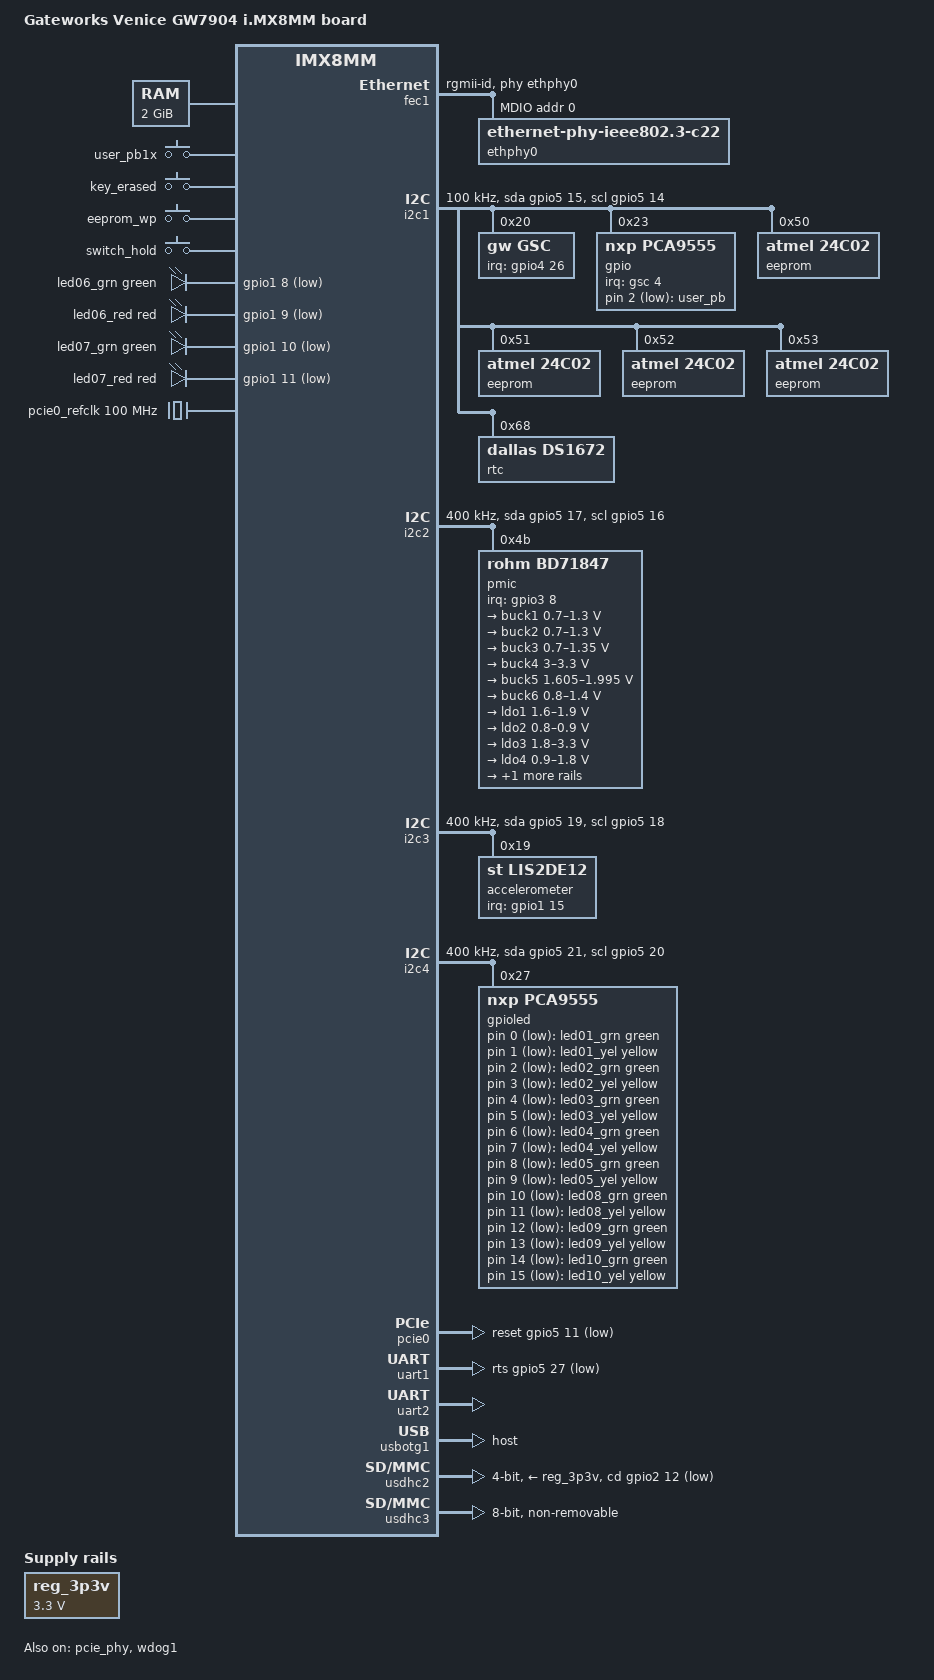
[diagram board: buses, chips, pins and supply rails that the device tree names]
// SPDX-License-Identifier: (GPL-2.0+ OR MIT)
/*
 * Copyright 2022 Gateworks Corporation
 */

/dts-v1/;

#include <dt-bindings/gpio/gpio.h>
#include <dt-bindings/input/linux-event-codes.h>
#include <dt-bindings/leds/common.h>
#include <dt-bindings/phy/phy-imx8-pcie.h>

#include "imx8mm.dtsi"

/ {
	model = "Gateworks Venice GW7904 i.MX8MM board";
	compatible = "gateworks,imx8mm-gw7904", "fsl,imx8mm";

	chosen {
		stdout-path = &uart2;
	};

	memory@40000000 {
		device_type = "memory";
		reg = <0x0 0x40000000 0 0x80000000>;
	};

	gpio-keys {
		compatible = "gpio-keys";

		key-0 {
			label = "user_pb";
			gpios = <&gpio 2 GPIO_ACTIVE_LOW>;
			linux,code = <BTN_0>;
		};

		key-1 {
			label = "user_pb1x";
			linux,code = <BTN_1>;
			interrupt-parent = <&gsc>;
			interrupts = <0>;
		};

		key-2 {
			label = "key_erased";
			linux,code = <BTN_2>;
			interrupt-parent = <&gsc>;
			interrupts = <1>;
		};

		key-3 {
			label = "eeprom_wp";
			linux,code = <BTN_3>;
			interrupt-parent = <&gsc>;
			interrupts = <2>;
		};

		key-4 {
			label = "switch_hold";
			linux,code = <BTN_5>;
			interrupt-parent = <&gsc>;
			interrupts = <7>;
		};
	};

	led-controller {
		compatible = "gpio-leds";
		pinctrl-names = "default";
		pinctrl-0 = <&pinctrl_gpio_leds>;

		led-0 {
			function = LED_FUNCTION_STATUS;
			color = <LED_COLOR_ID_GREEN>;
			label = "led01_grn";
			gpios = <&gpioled 0 GPIO_ACTIVE_LOW>;
			default-state = "off";
		};

		led-1 {
			function = LED_FUNCTION_STATUS;
			color = <LED_COLOR_ID_YELLOW>;
			label = "led01_yel";
			gpios = <&gpioled 1 GPIO_ACTIVE_LOW>;
			default-state = "off";
		};

		led-2 {
			function = LED_FUNCTION_STATUS;
			color = <LED_COLOR_ID_GREEN>;
			label = "led02_grn";
			gpios = <&gpioled 2 GPIO_ACTIVE_LOW>;
			default-state = "off";
		};

		led-3 {
			function = LED_FUNCTION_STATUS;
			color = <LED_COLOR_ID_YELLOW>;
			label = "led02_yel";
			gpios = <&gpioled 3 GPIO_ACTIVE_LOW>;
			default-state = "off";
		};

		led-4 {
			function = LED_FUNCTION_STATUS;
			color = <LED_COLOR_ID_GREEN>;
			label = "led03_grn";
			gpios = <&gpioled 4 GPIO_ACTIVE_LOW>;
			default-state = "off";
		};

		led-5 {
			function = LED_FUNCTION_STATUS;
			color = <LED_COLOR_ID_YELLOW>;
			label = "led03_yel";
			gpios = <&gpioled 5 GPIO_ACTIVE_LOW>;
			default-state = "off";
		};

		led-6 {
			function = LED_FUNCTION_STATUS;
			color = <LED_COLOR_ID_GREEN>;
			label = "led04_grn";
			gpios = <&gpioled 6 GPIO_ACTIVE_LOW>;
			default-state = "off";
		};

		led-7 {
			function = LED_FUNCTION_STATUS;
			color = <LED_COLOR_ID_YELLOW>;
			label = "led04_yel";
			gpios = <&gpioled 7 GPIO_ACTIVE_LOW>;
			default-state = "off";
		};

		led-8 {
			function = LED_FUNCTION_STATUS;
			color = <LED_COLOR_ID_GREEN>;
			label = "led05_grn";
			gpios = <&gpioled 8 GPIO_ACTIVE_LOW>;
			default-state = "off";
		};

		led-9 {
			function = LED_FUNCTION_STATUS;
			color = <LED_COLOR_ID_YELLOW>;
			label = "led05_yel";
			gpios = <&gpioled 9 GPIO_ACTIVE_LOW>;
			default-state = "off";
		};

		led-10 {
			function = LED_FUNCTION_STATUS;
			color = <LED_COLOR_ID_GREEN>;
			label = "led06_grn";
			gpios = <&gpio1 8 GPIO_ACTIVE_LOW>;
			default-state = "off";
		};

		led-11 {
			function = LED_FUNCTION_STATUS;
			color = <LED_COLOR_ID_RED>;
			label = "led06_red";
			gpios = <&gpio1 9 GPIO_ACTIVE_LOW>;
			default-state = "off";
		};

		led-12 {
			function = LED_FUNCTION_STATUS;
			color = <LED_COLOR_ID_GREEN>;
			label = "led07_grn";
			gpios = <&gpio1 10 GPIO_ACTIVE_LOW>;
			default-state = "off";
		};

		led-13 {
			function = LED_FUNCTION_STATUS;
			color = <LED_COLOR_ID_RED>;
			label = "led07_red";
			gpios = <&gpio1 11 GPIO_ACTIVE_LOW>;
			default-state = "off";
		};

		led-14 {
			function = LED_FUNCTION_STATUS;
			color = <LED_COLOR_ID_GREEN>;
			label = "led08_grn";
			gpios = <&gpioled 10 GPIO_ACTIVE_LOW>;
			default-state = "off";
		};

		led-15 {
			function = LED_FUNCTION_STATUS;
			color = <LED_COLOR_ID_YELLOW>;
			label = "led08_yel";
			gpios = <&gpioled 11 GPIO_ACTIVE_LOW>;
			default-state = "off";
		};

		led-16 {
			function = LED_FUNCTION_STATUS;
			color = <LED_COLOR_ID_GREEN>;
			label = "led09_grn";
			gpios = <&gpioled 12 GPIO_ACTIVE_LOW>;
			default-state = "off";
		};

		led-17 {
			function = LED_FUNCTION_STATUS;
			color = <LED_COLOR_ID_YELLOW>;
			label = "led09_yel";
			gpios = <&gpioled 13 GPIO_ACTIVE_LOW>;
			default-state = "off";
		};

		led-18 {
			function = LED_FUNCTION_STATUS;
			color = <LED_COLOR_ID_GREEN>;
			label = "led10_grn";
			gpios = <&gpioled 14 GPIO_ACTIVE_LOW>;
			default-state = "off";
		};

		led-19 {
			function = LED_FUNCTION_STATUS;
			color = <LED_COLOR_ID_YELLOW>;
			label = "led10_yel";
			gpios = <&gpioled 15 GPIO_ACTIVE_LOW>;
			default-state = "off";
		};
	};

	pcie0_refclk: pcie0-refclk {
		compatible = "fixed-clock";
		#clock-cells = <0>;
		clock-frequency = <100000000>;
	};

	reg_3p3v: regulator-3p3v {
		compatible = "regulator-fixed";
		regulator-name = "3P3V";
		regulator-min-microvolt = <3300000>;
		regulator-max-microvolt = <3300000>;
		regulator-always-on;
	};
};

&A53_0 {
	cpu-supply = <&buck2>;
};

&A53_1 {
	cpu-supply = <&buck2>;
};

&A53_2 {
	cpu-supply = <&buck2>;
};

&A53_3 {
	cpu-supply = <&buck2>;
};

&ddrc {
	operating-points-v2 = <&ddrc_opp_table>;

	ddrc_opp_table: opp-table {
		compatible = "operating-points-v2";

		opp-25000000 {
			opp-hz = /bits/ 64 <25000000>;
		};

		opp-100000000 {
			opp-hz = /bits/ 64 <100000000>;
		};

		opp-750000000 {
			opp-hz = /bits/ 64 <750000000>;
		};
	};
};

&fec1 {
	pinctrl-names = "default";
	pinctrl-0 = <&pinctrl_fec1>;
	phy-mode = "rgmii-id";
	phy-handle = <&ethphy0>;
	local-mac-address = [00 00 00 00 00 00];
	status = "okay";

	mdio {
		#address-cells = <1>;
		#size-cells = <0>;

		ethphy0: ethernet-phy@0 {
			compatible = "ethernet-phy-ieee802.3-c22";
			reg = <0>;
		};
	};
};

&gpio1 {
	gpio-line-names = "", "", "", "", "", "", "", "",
		"", "", "", "", "rs232_en#", "", "", "",
		"", "", "", "", "", "", "", "",
		"", "", "", "", "", "", "", "";
};

&gpio5 {
	gpio-line-names = "", "", "", "", "", "", "", "",
		"", "", "", "", "pci_wdis#", "", "", "",
		"", "", "", "", "", "", "", "",
		"", "", "", "", "", "", "", "";
};

&i2c1 {
	clock-frequency = <100000>;
	pinctrl-names = "default", "gpio";
	pinctrl-0 = <&pinctrl_i2c1>;
	pinctrl-1 = <&pinctrl_i2c1_gpio>;
	scl-gpios = <&gpio5 14 (GPIO_ACTIVE_HIGH | GPIO_OPEN_DRAIN)>;
	sda-gpios = <&gpio5 15 (GPIO_ACTIVE_HIGH | GPIO_OPEN_DRAIN)>;
	status = "okay";

	gsc: gsc@20 {
		compatible = "gw,gsc";
		reg = <0x20>;
		pinctrl-0 = <&pinctrl_gsc>;
		interrupt-parent = <&gpio4>;
		interrupts = <26 IRQ_TYPE_EDGE_FALLING>;
		interrupt-controller;
		#interrupt-cells = <1>;

		adc {
			compatible = "gw,gsc-adc";
			#address-cells = <1>;
			#size-cells = <0>;

			channel@6 {
				gw,mode = <0>;
				reg = <0x06>;
				label = "temp";
			};

			channel@82 {
				gw,mode = <2>;
				reg = <0x82>;
				label = "vin";
				gw,voltage-divider-ohms = <22100 1000>;
				gw,voltage-offset-microvolt = <700000>;
			};

			channel@84 {
				gw,mode = <2>;
				reg = <0x84>;
				label = "vdd_5p0";
				gw,voltage-divider-ohms = <10000 10000>;
			};

			channel@86 {
				gw,mode = <2>;
				reg = <0x86>;
				label = "vdd_3p3";
				gw,voltage-divider-ohms = <10000 10000>;
			};

			channel@88 {
				gw,mode = <2>;
				reg = <0x88>;
				label = "vdd_0p9";
			};

			channel@8c {
				gw,mode = <2>;
				reg = <0x8c>;
				label = "vdd_soc";
			};

			channel@8e {
				gw,mode = <2>;
				reg = <0x8e>;
				label = "vdd_arm";
			};

			channel@90 {
				gw,mode = <2>;
				reg = <0x90>;
				label = "vdd_1p8";
			};

			channel@92 {
				gw,mode = <2>;
				reg = <0x92>;
				label = "vdd_dram";
			};

			channel@a2 {
				gw,mode = <2>;
				reg = <0xa2>;
				label = "vdd_gsc";
				gw,voltage-divider-ohms = <10000 10000>;
			};
		};
	};

	gpio: gpio@23 {
		compatible = "nxp,pca9555";
		reg = <0x23>;
		gpio-controller;
		#gpio-cells = <2>;
		interrupt-parent = <&gsc>;
		interrupts = <4>;
	};

	eeprom@50 {
		compatible = "atmel,24c02";
		reg = <0x50>;
		pagesize = <16>;
	};

	eeprom@51 {
		compatible = "atmel,24c02";
		reg = <0x51>;
		pagesize = <16>;
	};

	eeprom@52 {
		compatible = "atmel,24c02";
		reg = <0x52>;
		pagesize = <16>;
	};

	eeprom@53 {
		compatible = "atmel,24c02";
		reg = <0x53>;
		pagesize = <16>;
	};

	rtc@68 {
		compatible = "dallas,ds1672";
		reg = <0x68>;
	};
};

&i2c2 {
	clock-frequency = <400000>;
	pinctrl-names = "default", "gpio";
	pinctrl-0 = <&pinctrl_i2c2>;
	pinctrl-1 = <&pinctrl_i2c2_gpio>;
	scl-gpios = <&gpio5 16 (GPIO_ACTIVE_HIGH | GPIO_OPEN_DRAIN)>;
	sda-gpios = <&gpio5 17 (GPIO_ACTIVE_HIGH | GPIO_OPEN_DRAIN)>;
	status = "okay";

	pmic@4b {
		compatible = "rohm,bd71847";
		reg = <0x4b>;
		pinctrl-names = "default";
		pinctrl-0 = <&pinctrl_pmic>;
		interrupt-parent = <&gpio3>;
		interrupts = <8 IRQ_TYPE_LEVEL_LOW>;
		rohm,reset-snvs-powered;
		#clock-cells = <0>;
		clocks = <&osc_32k>;
		clock-output-names = "clk-32k-out";

		regulators {
			/* vdd_soc: 0.805-0.900V (typ=0.8V) */
			BUCK1 {
				regulator-name = "buck1";
				regulator-min-microvolt = <700000>;
				regulator-max-microvolt = <1300000>;
				regulator-boot-on;
				regulator-always-on;
				regulator-ramp-delay = <1250>;
			};

			/* vdd_arm: 0.805-1.0V (typ=0.9V) */
			buck2: BUCK2 {
				regulator-name = "buck2";
				regulator-min-microvolt = <700000>;
				regulator-max-microvolt = <1300000>;
				regulator-boot-on;
				regulator-always-on;
				regulator-ramp-delay = <1250>;
				rohm,dvs-run-voltage = <1000000>;
				rohm,dvs-idle-voltage = <900000>;
			};

			/* vdd_0p9: 0.805-1.0V (typ=0.9V) */
			BUCK3 {
				regulator-name = "buck3";
				regulator-min-microvolt = <700000>;
				regulator-max-microvolt = <1350000>;
				regulator-boot-on;
				regulator-always-on;
			};

			/* vdd_3p3 */
			BUCK4 {
				regulator-name = "buck4";
				regulator-min-microvolt = <3000000>;
				regulator-max-microvolt = <3300000>;
				regulator-boot-on;
				regulator-always-on;
			};

			/* vdd_1p8 */
			BUCK5 {
				regulator-name = "buck5";
				regulator-min-microvolt = <1605000>;
				regulator-max-microvolt = <1995000>;
				regulator-boot-on;
				regulator-always-on;
			};

			/* vdd_dram */
			BUCK6 {
				regulator-name = "buck6";
				regulator-min-microvolt = <800000>;
				regulator-max-microvolt = <1400000>;
				regulator-boot-on;
				regulator-always-on;
			};

			/* nvcc_snvs_1p8 */
			LDO1 {
				regulator-name = "ldo1";
				regulator-min-microvolt = <1600000>;
				regulator-max-microvolt = <1900000>;
				regulator-boot-on;
				regulator-always-on;
			};

			/* vdd_snvs_0p8 */
			LDO2 {
				regulator-name = "ldo2";
				regulator-min-microvolt = <800000>;
				regulator-max-microvolt = <900000>;
				regulator-boot-on;
				regulator-always-on;
			};

			/* vdda_1p8 */
			LDO3 {
				regulator-name = "ldo3";
				regulator-min-microvolt = <1800000>;
				regulator-max-microvolt = <3300000>;
				regulator-boot-on;
				regulator-always-on;
			};

			LDO4 {
				regulator-name = "ldo4";
				regulator-min-microvolt = <900000>;
				regulator-max-microvolt = <1800000>;
				regulator-boot-on;
				regulator-always-on;
			};

			LDO6 {
				regulator-name = "ldo6";
				regulator-min-microvolt = <900000>;
				regulator-max-microvolt = <1800000>;
				regulator-boot-on;
				regulator-always-on;
			};
		};
	};
};

&i2c3 {
	clock-frequency = <400000>;
	pinctrl-names = "default", "gpio";
	pinctrl-0 = <&pinctrl_i2c3>;
	pinctrl-1 = <&pinctrl_i2c3_gpio>;
	scl-gpios = <&gpio5 18 (GPIO_ACTIVE_HIGH | GPIO_OPEN_DRAIN)>;
	sda-gpios = <&gpio5 19 (GPIO_ACTIVE_HIGH | GPIO_OPEN_DRAIN)>;
	status = "okay";

	accelerometer@19 {
		pinctrl-names = "default";
		pinctrl-0 = <&pinctrl_accel>;
		compatible = "st,lis2de12";
		reg = <0x19>;
		st,drdy-int-pin = <1>;
		interrupt-parent = <&gpio1>;
		interrupts = <15 IRQ_TYPE_LEVEL_LOW>;
		interrupt-names = "INT1";
	};
};

&i2c4 {
	clock-frequency = <400000>;
	pinctrl-names = "default", "gpio";
	pinctrl-0 = <&pinctrl_i2c4>;
	pinctrl-1 = <&pinctrl_i2c4_gpio>;
	scl-gpios = <&gpio5 20 (GPIO_ACTIVE_HIGH | GPIO_OPEN_DRAIN)>;
	sda-gpios = <&gpio5 21 (GPIO_ACTIVE_HIGH | GPIO_OPEN_DRAIN)>;
	status = "okay";

	gpioled: gpio@27 {
		compatible = "nxp,pca9555";
		reg = <0x27>;
		gpio-controller;
		#gpio-cells = <2>;
	};
};

&pcie_phy {
	fsl,refclk-pad-mode = <IMX8_PCIE_REFCLK_PAD_INPUT>;
	fsl,clkreq-unsupported;
	clocks = <&pcie0_refclk>;
	clock-names = "ref";
	status = "okay";
};

&pcie0 {
	pinctrl-names = "default";
	pinctrl-0 = <&pinctrl_pcie0>;
	reset-gpio = <&gpio5 11 GPIO_ACTIVE_LOW>;
	clocks = <&clk IMX8MM_CLK_PCIE1_ROOT>, <&pcie0_refclk>,
		 <&clk IMX8MM_CLK_PCIE1_AUX>;
	assigned-clocks = <&clk IMX8MM_CLK_PCIE1_AUX>,
			  <&clk IMX8MM_CLK_PCIE1_CTRL>;
	assigned-clock-rates = <10000000>, <250000000>;
	assigned-clock-parents = <&clk IMX8MM_SYS_PLL2_50M>,
				 <&clk IMX8MM_SYS_PLL2_250M>;
	status = "okay";
};

&disp_blk_ctrl {
	status = "disabled";
};

&pgc_mipi {
	status = "disabled";
};

/* off-board RS232 */
&uart1 {
	pinctrl-names = "default";
	pinctrl-0 = <&pinctrl_uart1>;
	cts-gpios = <&gpio5 26 GPIO_ACTIVE_LOW>;
	rts-gpios = <&gpio5 27 GPIO_ACTIVE_LOW>;
	status = "okay";
};

/* console */
&uart2 {
	pinctrl-names = "default";
	pinctrl-0 = <&pinctrl_uart2>;
	status = "okay";
};

&usbotg1 {
	dr_mode = "host";
	disable-over-current;
	status = "okay";
};

/* microSD */
&usdhc2 {
	pinctrl-names = "default", "state_100mhz", "state_200mhz";
	pinctrl-0 = <&pinctrl_usdhc2>, <&pinctrl_usdhc2_gpio>;
	pinctrl-1 = <&pinctrl_usdhc2_100mhz>, <&pinctrl_usdhc2_gpio>;
	pinctrl-2 = <&pinctrl_usdhc2_200mhz>, <&pinctrl_usdhc2_gpio>;
	cd-gpios = <&gpio2 12 GPIO_ACTIVE_LOW>;
	bus-width = <4>;
	vmmc-supply = <&reg_3p3v>;
	status = "okay";
};

/* eMMC */
&usdhc3 {
	pinctrl-names = "default", "state_100mhz", "state_200mhz";
	pinctrl-0 = <&pinctrl_usdhc3>;
	pinctrl-1 = <&pinctrl_usdhc3_100mhz>;
	pinctrl-2 = <&pinctrl_usdhc3_200mhz>;
	bus-width = <8>;
	non-removable;
	status = "okay";
};

&wdog1 {
	pinctrl-names = "default";
	pinctrl-0 = <&pinctrl_wdog>;
	fsl,ext-reset-output;
	status = "okay";
};

&iomuxc {
	pinctrl-names = "default";
	pinctrl-0 = <&pinctrl_hog>;

	pinctrl_hog: hoggrp {
		fsl,pins = <
			MX8MM_IOMUXC_GPIO1_IO12_GPIO1_IO12	0x40000041 /* RS232# */
			MX8MM_IOMUXC_ECSPI2_MISO_GPIO5_IO12	0x40000041 /* PCI_WDIS# */
		>;
	};

	pinctrl_accel: accelgrp {
		fsl,pins = <
			MX8MM_IOMUXC_GPIO1_IO15_GPIO1_IO15	0x159
		>;
	};

	pinctrl_fec1: fec1grp {
		fsl,pins = <
			MX8MM_IOMUXC_ENET_MDC_ENET1_MDC			0x3
			MX8MM_IOMUXC_ENET_MDIO_ENET1_MDIO		0x3
			MX8MM_IOMUXC_ENET_TD3_ENET1_RGMII_TD3		0x1f
			MX8MM_IOMUXC_ENET_TD2_ENET1_RGMII_TD2		0x1f
			MX8MM_IOMUXC_ENET_TD1_ENET1_RGMII_TD1		0x1f
			MX8MM_IOMUXC_ENET_TD0_ENET1_RGMII_TD0		0x1f
			MX8MM_IOMUXC_ENET_RD3_ENET1_RGMII_RD3		0x91
			MX8MM_IOMUXC_ENET_RD2_ENET1_RGMII_RD2		0x91
			MX8MM_IOMUXC_ENET_RD1_ENET1_RGMII_RD1		0x91
			MX8MM_IOMUXC_ENET_RD0_ENET1_RGMII_RD0		0x91
			MX8MM_IOMUXC_ENET_TXC_ENET1_RGMII_TXC		0x1f
			MX8MM_IOMUXC_ENET_RXC_ENET1_RGMII_RXC		0x91
			MX8MM_IOMUXC_ENET_RX_CTL_ENET1_RGMII_RX_CTL	0x91
			MX8MM_IOMUXC_ENET_TX_CTL_ENET1_RGMII_TX_CTL	0x1f
			MX8MM_IOMUXC_SAI2_TXFS_GPIO4_IO24		0x19 /* IRQ# */
			MX8MM_IOMUXC_SAI2_TXC_GPIO4_IO25		0x19 /* RST# */
		>;
	};

	pinctrl_gpio_leds: gpioledsgrp {
		fsl,pins = <
			MX8MM_IOMUXC_GPIO1_IO08_GPIO1_IO8	0x40000019
			MX8MM_IOMUXC_GPIO1_IO09_GPIO1_IO9	0x40000019
			MX8MM_IOMUXC_GPIO1_IO10_GPIO1_IO10	0x40000019
			MX8MM_IOMUXC_GPIO1_IO11_GPIO1_IO11	0x40000019
		>;
	};

	pinctrl_gsc: gscgrp {
		fsl,pins = <
			MX8MM_IOMUXC_SAI2_TXD0_GPIO4_IO26	0x159
		>;
	};

	pinctrl_i2c1: i2c1grp {
		fsl,pins = <
			MX8MM_IOMUXC_I2C1_SCL_I2C1_SCL		0x400001c3
			MX8MM_IOMUXC_I2C1_SDA_I2C1_SDA		0x400001c3
		>;
	};

	pinctrl_i2c1_gpio: i2c1gpiogrp {
		fsl,pins = <
			MX8MM_IOMUXC_I2C1_SCL_GPIO5_IO14	0x400001c3
			MX8MM_IOMUXC_I2C1_SDA_GPIO5_IO15	0x400001c3
		>;
	};

	pinctrl_i2c2: i2c2grp {
		fsl,pins = <
			MX8MM_IOMUXC_I2C2_SCL_I2C2_SCL		0x400001c3
			MX8MM_IOMUXC_I2C2_SDA_I2C2_SDA		0x400001c3
		>;
	};

	pinctrl_i2c2_gpio: i2c2gpiogrp {
		fsl,pins = <
			MX8MM_IOMUXC_I2C2_SCL_GPIO5_IO16	0x400001c3
			MX8MM_IOMUXC_I2C2_SDA_GPIO5_IO17	0x400001c3
		>;
	};

	pinctrl_i2c3: i2c3grp {
		fsl,pins = <
			MX8MM_IOMUXC_I2C3_SCL_I2C3_SCL		0x400001c3
			MX8MM_IOMUXC_I2C3_SDA_I2C3_SDA		0x400001c3
		>;
	};

	pinctrl_i2c3_gpio: i2c3gpiogrp {
		fsl,pins = <
			MX8MM_IOMUXC_I2C3_SCL_GPIO5_IO18	0x400001c3
			MX8MM_IOMUXC_I2C3_SDA_GPIO5_IO19	0x400001c3
		>;
	};

	pinctrl_i2c4: i2c4grp {
		fsl,pins = <
			MX8MM_IOMUXC_I2C4_SCL_I2C4_SCL		0x400001c3
			MX8MM_IOMUXC_I2C4_SDA_I2C4_SDA		0x400001c3
		>;
	};

	pinctrl_i2c4_gpio: i2c4gpiogrp {
		fsl,pins = <
			MX8MM_IOMUXC_I2C4_SCL_GPIO5_IO20	0x400001c3
			MX8MM_IOMUXC_I2C4_SDA_GPIO5_IO21	0x400001c3
		>;
	};

	pinctrl_pcie0: pciegrp {
		fsl,pins = <
			MX8MM_IOMUXC_ECSPI2_MOSI_GPIO5_IO11	0x41
		>;
	};

	pinctrl_pmic: pmicgrp {
		fsl,pins = <
			MX8MM_IOMUXC_NAND_DATA02_GPIO3_IO8	0x41
		>;
	};

	pinctrl_uart1: uart1grp {
		fsl,pins = <
			MX8MM_IOMUXC_UART1_RXD_UART1_DCE_RX	0x140
			MX8MM_IOMUXC_UART1_TXD_UART1_DCE_TX	0x140
			MX8MM_IOMUXC_UART3_RXD_GPIO5_IO26	0x140 /* CTS# in */
			MX8MM_IOMUXC_UART3_TXD_GPIO5_IO27	0x140 /* RTS# out */
		>;
	};

	pinctrl_uart2: uart2grp {
		fsl,pins = <
			MX8MM_IOMUXC_UART2_RXD_UART2_DCE_RX	0x140
			MX8MM_IOMUXC_UART2_TXD_UART2_DCE_TX	0x140
		>;
	};

	pinctrl_usdhc2: usdhc2grp {
		fsl,pins = <
			MX8MM_IOMUXC_SD2_CLK_USDHC2_CLK		0x190
			MX8MM_IOMUXC_SD2_CMD_USDHC2_CMD		0x1d0
			MX8MM_IOMUXC_SD2_DATA0_USDHC2_DATA0	0x1d0
			MX8MM_IOMUXC_SD2_DATA1_USDHC2_DATA1	0x1d0
			MX8MM_IOMUXC_SD2_DATA2_USDHC2_DATA2	0x1d0
			MX8MM_IOMUXC_SD2_DATA3_USDHC2_DATA3	0x1d0
		>;
	};

	pinctrl_usdhc2_100mhz: usdhc2-100mhzgrp {
		fsl,pins = <
			MX8MM_IOMUXC_SD2_CLK_USDHC2_CLK		0x194
			MX8MM_IOMUXC_SD2_CMD_USDHC2_CMD		0x1d4
			MX8MM_IOMUXC_SD2_DATA0_USDHC2_DATA0	0x1d4
			MX8MM_IOMUXC_SD2_DATA1_USDHC2_DATA1	0x1d4
			MX8MM_IOMUXC_SD2_DATA2_USDHC2_DATA2	0x1d4
			MX8MM_IOMUXC_SD2_DATA3_USDHC2_DATA3	0x1d4
		>;
	};

	pinctrl_usdhc2_200mhz: usdhc2-200mhzgrp {
		fsl,pins = <
			MX8MM_IOMUXC_SD2_CLK_USDHC2_CLK		0x196
			MX8MM_IOMUXC_SD2_CMD_USDHC2_CMD		0x1d6
			MX8MM_IOMUXC_SD2_DATA0_USDHC2_DATA0	0x1d6
			MX8MM_IOMUXC_SD2_DATA1_USDHC2_DATA1	0x1d6
			MX8MM_IOMUXC_SD2_DATA2_USDHC2_DATA2	0x1d6
			MX8MM_IOMUXC_SD2_DATA3_USDHC2_DATA3	0x1d6
		>;
	};

	pinctrl_usdhc2_gpio: usdhc2-gpiogrp {
		fsl,pins = <
			MX8MM_IOMUXC_SD2_CD_B_GPIO2_IO12	0x1c4
			MX8MM_IOMUXC_GPIO1_IO04_USDHC2_VSELECT  0x1d0
		>;
	};

	pinctrl_usdhc3: usdhc3grp {
		fsl,pins = <
			MX8MM_IOMUXC_NAND_WE_B_USDHC3_CLK	0x190
			MX8MM_IOMUXC_NAND_WP_B_USDHC3_CMD	0x1d0
			MX8MM_IOMUXC_NAND_DATA04_USDHC3_DATA0	0x1d0
			MX8MM_IOMUXC_NAND_DATA05_USDHC3_DATA1	0x1d0
			MX8MM_IOMUXC_NAND_DATA06_USDHC3_DATA2	0x1d0
			MX8MM_IOMUXC_NAND_DATA07_USDHC3_DATA3	0x1d0
			MX8MM_IOMUXC_NAND_RE_B_USDHC3_DATA4	0x1d0
			MX8MM_IOMUXC_NAND_CE2_B_USDHC3_DATA5	0x1d0
			MX8MM_IOMUXC_NAND_CE3_B_USDHC3_DATA6	0x1d0
			MX8MM_IOMUXC_NAND_CLE_USDHC3_DATA7	0x1d0
			MX8MM_IOMUXC_NAND_CE1_B_USDHC3_STROBE	0x190
		>;
	};

	pinctrl_usdhc3_100mhz: usdhc3-100mhzgrp {
		fsl,pins = <
			MX8MM_IOMUXC_NAND_WE_B_USDHC3_CLK	0x194
			MX8MM_IOMUXC_NAND_WP_B_USDHC3_CMD	0x1d4
			MX8MM_IOMUXC_NAND_DATA04_USDHC3_DATA0	0x1d4
			MX8MM_IOMUXC_NAND_DATA05_USDHC3_DATA1	0x1d4
			MX8MM_IOMUXC_NAND_DATA06_USDHC3_DATA2	0x1d4
			MX8MM_IOMUXC_NAND_DATA07_USDHC3_DATA3	0x1d4
			MX8MM_IOMUXC_NAND_RE_B_USDHC3_DATA4	0x1d4
			MX8MM_IOMUXC_NAND_CE2_B_USDHC3_DATA5	0x1d4
			MX8MM_IOMUXC_NAND_CE3_B_USDHC3_DATA6	0x1d4
			MX8MM_IOMUXC_NAND_CLE_USDHC3_DATA7	0x1d4
			MX8MM_IOMUXC_NAND_CE1_B_USDHC3_STROBE	0x194
		>;
	};

	pinctrl_usdhc3_200mhz: usdhc3-200mhzgrp {
		fsl,pins = <
			MX8MM_IOMUXC_NAND_WE_B_USDHC3_CLK	0x196
			MX8MM_IOMUXC_NAND_WP_B_USDHC3_CMD	0x1d6
			MX8MM_IOMUXC_NAND_DATA04_USDHC3_DATA0	0x1d6
			MX8MM_IOMUXC_NAND_DATA05_USDHC3_DATA1	0x1d6
			MX8MM_IOMUXC_NAND_DATA06_USDHC3_DATA2	0x1d6
			MX8MM_IOMUXC_NAND_DATA07_USDHC3_DATA3	0x1d6
			MX8MM_IOMUXC_NAND_RE_B_USDHC3_DATA4	0x1d6
			MX8MM_IOMUXC_NAND_CE2_B_USDHC3_DATA5	0x1d6
			MX8MM_IOMUXC_NAND_CE3_B_USDHC3_DATA6	0x1d6
			MX8MM_IOMUXC_NAND_CLE_USDHC3_DATA7	0x1d6
			MX8MM_IOMUXC_NAND_CE1_B_USDHC3_STROBE	0x196
		>;
	};

	pinctrl_wdog: wdoggrp {
		fsl,pins = <
			MX8MM_IOMUXC_GPIO1_IO02_WDOG1_WDOG_B	0xc6
		>;
	};
};
